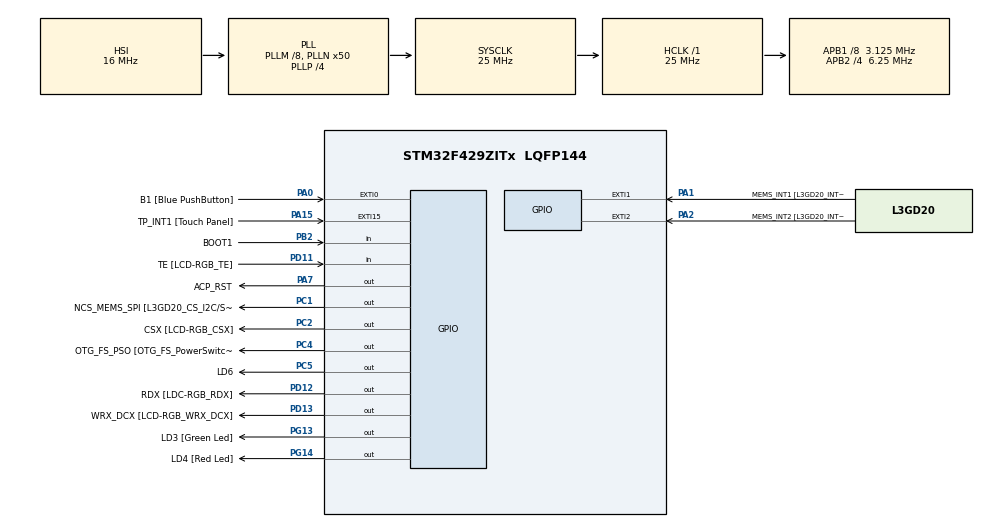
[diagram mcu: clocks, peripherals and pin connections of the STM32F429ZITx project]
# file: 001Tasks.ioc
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Mcu.Family=STM32F4
Mcu.Name=STM32F429ZITx
Mcu.Package=LQFP144
NVIC.PriorityGroup=NVIC_PRIORITYGROUP_4
NVIC.TIM6_DAC_IRQn=true\:0\:0\:false\:false\:true\:false\:true\:true
NVIC.TimeBase=TIM6_DAC_IRQn
NVIC.TimeBaseIP=TIM6
PA0/WKUP.GPIO_Label=B1 [Blue PushButton]
PA0/WKUP.GPIO_ModeDefaultEXTI=GPIO_MODE_EVT_RISING
PA0/WKUP.GPIO_PuPd=GPIO_NOPULL
PA0/WKUP.Signal=GPXTI0
PA1.GPIO_Label=MEMS_INT1 [L3GD20_INT1]
PA1.GPIO_ModeDefaultEXTI=GPIO_MODE_EVT_RISING
PA1.GPIO_PuPd=GPIO_NOPULL
PA1.Signal=GPXTI1
PA10.GPIO_Label=STLINK_TX [STM32F103CBT6_PA2]
PA10.Signal=USART1_RX
PA11.GPIO_Label=R4
PA11.GPIO_Mode=GPIO_MODE_AF_PP
PA11.GPIO_PuPd=GPIO_NOPULL
PA11.GPIO_Speed=GPIO_SPEED_FREQ_LOW
PA11.Signal=LTDC_R4
PA12.GPIO_Label=R5
PA12.GPIO_Mode=GPIO_MODE_AF_PP
PA12.GPIO_PuPd=GPIO_NOPULL
PA12.GPIO_Speed=GPIO_SPEED_FREQ_LOW
PA12.Signal=LTDC_R5
PA13.GPIO_Label=SWDIO
PA13.Signal=SYS_JTMS-SWDIO
PA14.GPIO_Label=SWCLK
PA14.Signal=SYS_JTCK-SWCLK
PA15.GPIO_Label=TP_INT1 [Touch Panel]
PA15.GPIO_ModeDefaultEXTI=GPIO_MODE_EVT_RISING
PA15.GPIO_PuPd=GPIO_NOPULL
PA15.Signal=GPXTI15
PA2.GPIO_Label=MEMS_INT2 [L3GD20_INT2]
PA2.GPIO_ModeDefaultEXTI=GPIO_MODE_EVT_RISING
PA2.GPIO_PuPd=GPIO_NOPULL
PA2.Signal=GPXTI2
PA3.GPIO_Label=B5
PA3.GPIO_Mode=GPIO_MODE_AF_PP
PA3.GPIO_PuPd=GPIO_NOPULL
PA3.GPIO_Speed=GPIO_SPEED_FREQ_LOW
PA3.Signal=LTDC_B5
PA4.GPIO_Label=VSYNC
PA4.GPIO_Mode=GPIO_MODE_AF_PP
PA4.GPIO_PuPd=GPIO_NOPULL
PA4.GPIO_Speed=GPIO_SPEED_FREQ_LOW
PA4.Signal=LTDC_VSYNC
PA6.GPIO_Label=G2
PA6.GPIO_Mode=GPIO_MODE_AF_PP
PA6.GPIO_PuPd=GPIO_NOPULL
PA6.GPIO_Speed=GPIO_SPEED_FREQ_LOW
PA6.Signal=LTDC_G2
PA7.GPIO_Label=ACP_RST
PA7.GPIO_Mode=GPIO_MODE_OUTPUT_PP
PA7.GPIO_PuPd=GPIO_NOPULL
PA7.GPIO_Speed=GPIO_SPEED_FREQ_LOW
PA7.Signal=GPIO_Output
PA8.GPIO_Label=I2C3_SCL [ACP/RF_SCL]
PA8.GPIO_Mode=GPIO_MODE_AF_OD
PA8.GPIO_PuPd=GPIO_NOPULL
PA8.GPIO_Speed=GPIO_SPEED_FREQ_LOW
PA8.Signal=I2C3_SCL
PA9.GPIO_Label=STLINK_RX [STM32F103CBT6_PA3]
PA9.Signal=USART1_TX
PB0.GPIO_Label=R3
PB0.GPIO_Mode=GPIO_MODE_AF_PP
PB0.GPIO_PuPd=GPIO_NOPULL
PB0.GPIO_Speed=GPIO_SPEED_FREQ_LOW
PB0.Signal=LTDC_R3
PB1.GPIO_Label=R6
PB1.GPIO_Mode=GPIO_MODE_AF_PP
PB1.GPIO_PuPd=GPIO_NOPULL
PB1.GPIO_Speed=GPIO_SPEED_FREQ_LOW
PB1.Signal=LTDC_R6
PB10.GPIO_Label=G4
PB10.GPIO_Mode=GPIO_MODE_AF_PP
PB10.GPIO_PuPd=GPIO_NOPULL
PB10.GPIO_Speed=GPIO_SPEED_FREQ_LOW
PB10.Signal=LTDC_G4
PB11.GPIO_Label=G5
PB11.GPIO_Mode=GPIO_MODE_AF_PP
PB11.GPIO_PuPd=GPIO_NOPULL
PB11.GPIO_Speed=GPIO_SPEED_FREQ_LOW
PB11.Signal=LTDC_G5
PB12.GPIO_Label=OTG_HS_ID
PB12.GPIO_Mode=GPIO_MODE_AF_PP
PB12.GPIO_PuPd=GPIO_NOPULL
PB12.GPIO_Speed=GPIO_SPEED_FREQ_LOW
PB12.Signal=USB_OTG_HS_ID
PB13.Signal=USB_OTG_HS_VBUS
PB14.GPIO_Label=OTG_HS_DM
PB14.GPIO_Mode=GPIO_MODE_AF_PP
PB14.GPIO_PuPd=GPIO_NOPULL
PB14.GPIO_Speed=GPIO_SPEED_FREQ_LOW
PB14.Signal=USB_OTG_HS_DM
PB15.GPIO_Label=OTG_HS_DP
PB15.GPIO_Mode=GPIO_MODE_AF_PP
PB15.GPIO_PuPd=GPIO_NOPULL
PB15.GPIO_Speed=GPIO_SPEED_FREQ_LOW
PB15.Signal=USB_OTG_HS_DP
PB2/BOOT1.GPIO_Label=BOOT1
PB2/BOOT1.GPIO_Mode=GPIO_MODE_INPUT
PB2/BOOT1.GPIO_PuPd=GPIO_NOPULL
PB2/BOOT1.Signal=GPIO_Input
PB5.GPIO_Label=SDCKE1
PB5.GPIO_Mode=GPIO_MODE_AF_PP
PB5.GPIO_PuPd=GPIO_NOPULL
PB5.GPIO_Speed=GPIO_SPEED_FREQ_VERY_HIGH
PB5.Signal=FMC_SDCKE1
PB6.GPIO_Label=SDNE1 [SDRAM_CS]
PB6.GPIO_Mode=GPIO_MODE_AF_PP
PB6.GPIO_PuPd=GPIO_NOPULL
PB6.GPIO_Speed=GPIO_SPEED_FREQ_VERY_HIGH
PB6.Signal=FMC_SDNE1
PB8.GPIO_Label=B6
PB8.GPIO_Mode=GPIO_MODE_AF_PP
PB8.GPIO_PuPd=GPIO_NOPULL
PB8.GPIO_Speed=GPIO_SPEED_FREQ_LOW
PB8.Signal=LTDC_B6
PB9.GPIO_Label=B7
PB9.GPIO_Mode=GPIO_MODE_AF_PP
PB9.GPIO_PuPd=GPIO_NOPULL
PB9.GPIO_Speed=GPIO_SPEED_FREQ_LOW
PB9.Signal=LTDC_B7
PC0.GPIO_Label=SDNWE
PC0.GPIO_Mode=GPIO_MODE_AF_PP
PC0.GPIO_PuPd=GPIO_NOPULL
PC0.GPIO_Speed=GPIO_SPEED_FREQ_VERY_HIGH
PC0.Signal=FMC_SDNWE
PC1.GPIO_Label=NCS_MEMS_SPI [L3GD20_CS_I2C/SPI]
PC1.GPIO_Mode=GPIO_MODE_OUTPUT_PP
PC1.GPIO_PuPd=GPIO_NOPULL
PC1.GPIO_Speed=GPIO_SPEED_FREQ_LOW
PC1.Signal=GPIO_Output
PC10.GPIO_Label=R2
PC10.GPIO_Mode=GPIO_MODE_AF_PP
PC10.GPIO_PuPd=GPIO_NOPULL
PC10.GPIO_Speed=GPIO_SPEED_FREQ_LOW
PC10.Signal=LTDC_R2
PC14/OSC32_IN.GPIO_Label=PC14-OSC32_IN
PC14/OSC32_IN.Signal=RCC_OSC32_IN
PC15/OSC32_OUT.GPIO_Label=PC15-OSC32_OUT
PC15/OSC32_OUT.Signal=RCC_OSC32_OUT
PC2.GPIO_Label=CSX [LCD-RGB_CSX]
PC2.GPIO_Mode=GPIO_MODE_OUTPUT_PP
PC2.GPIO_PuPd=GPIO_NOPULL
PC2.GPIO_Speed=GPIO_SPEED_FREQ_LOW
PC2.Signal=GPIO_Output
PC4.GPIO_Label=OTG_FS_PSO [OTG_FS_PowerSwitchOn]
PC4.GPIO_Mode=GPIO_MODE_OUTPUT_PP
PC4.GPIO_PuPd=GPIO_NOPULL
PC4.GPIO_Speed=GPIO_SPEED_FREQ_LOW
PC4.Signal=GPIO_Output
PC5.GPIO_Label=LD6
PC5.Signal=GPIO_Output
PC6.GPIO_Label=HSYNC
PC6.GPIO_Mode=GPIO_MODE_AF_PP
PC6.GPIO_PuPd=GPIO_NOPULL
PC6.GPIO_Speed=GPIO_SPEED_FREQ_LOW
PC6.Signal=LTDC_HSYNC
PC7.GPIO_Label=G6
PC7.GPIO_Mode=GPIO_MODE_AF_PP
PC7.GPIO_PuPd=GPIO_NOPULL
PC7.GPIO_Speed=GPIO_SPEED_FREQ_LOW
PC7.Signal=LTDC_G6
PC9.GPIO_Label=I2C3_SDA [ACP/RF_SDA]
PC9.GPIO_Mode=GPIO_MODE_AF_OD
PC9.GPIO_PuPd=GPIO_NOPULL
PC9.GPIO_Speed=GPIO_SPEED_FREQ_LOW
PC9.Signal=I2C3_SDA
PD0.GPIO_Label=D2
PD0.GPIO_Mode=GPIO_MODE_AF_PP
PD0.GPIO_PuPd=GPIO_NOPULL
PD0.GPIO_Speed=GPIO_SPEED_FREQ_VERY_HIGH
PD0.Signal=FMC_D2_DA2
PD1.GPIO_Label=D3
PD1.GPIO_Mode=GPIO_MODE_AF_PP
PD1.GPIO_PuPd=GPIO_NOPULL
PD1.GPIO_Speed=GPIO_SPEED_FREQ_VERY_HIGH
PD1.Signal=FMC_D3_DA3
PD10.GPIO_Label=D15
PD10.GPIO_Mode=GPIO_MODE_AF_PP
PD10.GPIO_PuPd=GPIO_NOPULL
PD10.GPIO_Speed=GPIO_SPEED_FREQ_VERY_HIGH
PD10.Signal=FMC_D15_DA15
PD11.GPIO_Label=TE [LCD-RGB_TE]
PD11.GPIO_Mode=GPIO_MODE_INPUT
PD11.GPIO_PuPd=GPIO_NOPULL
PD11.Signal=GPIO_Input
PD12.GPIO_Label=RDX [LDC-RGB_RDX]
PD12.GPIO_Mode=GPIO_MODE_OUTPUT_PP
PD12.GPIO_PuPd=GPIO_NOPULL
PD12.GPIO_Speed=GPIO_SPEED_FREQ_LOW
PD12.Signal=GPIO_Output
PD13.GPIO_Label=WRX_DCX [LCD-RGB_WRX_DCX]
PD13.GPIO_Mode=GPIO_MODE_OUTPUT_PP
PD13.GPIO_PuPd=GPIO_NOPULL
PD13.GPIO_Speed=GPIO_SPEED_FREQ_LOW
PD13.Signal=GPIO_Output
PD14.GPIO_Label=D0
PD14.GPIO_Mode=GPIO_MODE_AF_PP
PD14.GPIO_PuPd=GPIO_NOPULL
PD14.GPIO_Speed=GPIO_SPEED_FREQ_VERY_HIGH
PD14.Signal=FMC_D0_DA0
PD15.GPIO_Label=D1
PD15.GPIO_Mode=GPIO_MODE_AF_PP
PD15.GPIO_PuPd=GPIO_NOPULL
PD15.GPIO_Speed=GPIO_SPEED_FREQ_VERY_HIGH
PD15.Signal=FMC_D1_DA1
PD3.GPIO_Label=G7
PD3.GPIO_Mode=GPIO_MODE_AF_PP
PD3.GPIO_PuPd=GPIO_NOPULL
PD3.GPIO_Speed=GPIO_SPEED_FREQ_LOW
PD3.Signal=LTDC_G7
PD6.GPIO_Label=B2
PD6.GPIO_Mode=GPIO_MODE_AF_PP
PD6.GPIO_PuPd=GPIO_NOPULL
PD6.GPIO_Speed=GPIO_SPEED_FREQ_LOW
PD6.Signal=LTDC_B2
PD8.GPIO_Label=D13
PD8.GPIO_Mode=GPIO_MODE_AF_PP
PD8.GPIO_PuPd=GPIO_NOPULL
PD8.GPIO_Speed=GPIO_SPEED_FREQ_VERY_HIGH
PD8.Signal=FMC_D13_DA13
PD9.GPIO_Label=D14
PD9.GPIO_Mode=GPIO_MODE_AF_PP
PD9.GPIO_PuPd=GPIO_NOPULL
PD9.GPIO_Speed=GPIO_SPEED_FREQ_VERY_HIGH
PD9.Signal=FMC_D14_DA14
PE0.GPIO_Label=NBL0 [SDRAM_LDQM]
PE0.GPIO_Mode=GPIO_MODE_AF_PP
PE0.GPIO_PuPd=GPIO_NOPULL
PE0.GPIO_Speed=GPIO_SPEED_FREQ_VERY_HIGH
PE0.Signal=FMC_NBL0
PE1.GPIO_Label=NBL1 [SDRAM_UDQM]
PE1.GPIO_Mode=GPIO_MODE_AF_PP
PE1.GPIO_PuPd=GPIO_NOPULL
PE1.GPIO_Speed=GPIO_SPEED_FREQ_VERY_HIGH
PE1.Signal=FMC_NBL1
PE10.GPIO_Label=D7
PE10.GPIO_Mode=GPIO_MODE_AF_PP
PE10.GPIO_PuPd=GPIO_NOPULL
PE10.GPIO_Speed=GPIO_SPEED_FREQ_VERY_HIGH
PE10.Signal=FMC_D7_DA7
PE11.GPIO_Label=D8
PE11.GPIO_Mode=GPIO_MODE_AF_PP
PE11.GPIO_PuPd=GPIO_NOPULL
PE11.GPIO_Speed=GPIO_SPEED_FREQ_VERY_HIGH
PE11.Signal=FMC_D8_DA8
PE12.GPIO_Label=D9
PE12.GPIO_Mode=GPIO_MODE_AF_PP
PE12.GPIO_PuPd=GPIO_NOPULL
PE12.GPIO_Speed=GPIO_SPEED_FREQ_VERY_HIGH
PE12.Signal=FMC_D9_DA9
PE13.GPIO_Label=D10
PE13.GPIO_Mode=GPIO_MODE_AF_PP
PE13.GPIO_PuPd=GPIO_NOPULL
PE13.GPIO_Speed=GPIO_SPEED_FREQ_VERY_HIGH
PE13.Signal=FMC_D10_DA10
PE14.GPIO_Label=D11
PE14.GPIO_Mode=GPIO_MODE_AF_PP
PE14.GPIO_PuPd=GPIO_NOPULL
PE14.GPIO_Speed=GPIO_SPEED_FREQ_VERY_HIGH
PE14.Signal=FMC_D11_DA11
PE15.GPIO_Label=D12
PE15.GPIO_Mode=GPIO_MODE_AF_PP
PE15.GPIO_PuPd=GPIO_NOPULL
PE15.GPIO_Speed=GPIO_SPEED_FREQ_VERY_HIGH
PE15.Signal=FMC_D12_DA12
PE7.GPIO_Label=D4
PE7.GPIO_Mode=GPIO_MODE_AF_PP
PE7.GPIO_PuPd=GPIO_NOPULL
PE7.GPIO_Speed=GPIO_SPEED_FREQ_VERY_HIGH
PE7.Signal=FMC_D4_DA4
PE8.GPIO_Label=D5
PE8.GPIO_Mode=GPIO_MODE_AF_PP
PE8.GPIO_PuPd=GPIO_NOPULL
PE8.GPIO_Speed=GPIO_SPEED_FREQ_VERY_HIGH
PE8.Signal=FMC_D5_DA5
PE9.GPIO_Label=D6
PE9.GPIO_Mode=GPIO_MODE_AF_PP
PE9.GPIO_PuPd=GPIO_NOPULL
PE9.GPIO_Speed=GPIO_SPEED_FREQ_VERY_HIGH
PE9.Signal=FMC_D6_DA6
PF0.GPIO_Label=A0
PF0.GPIO_Mode=GPIO_MODE_AF_PP
PF0.GPIO_PuPd=GPIO_NOPULL
PF0.GPIO_Speed=GPIO_SPEED_FREQ_VERY_HIGH
PF0.Signal=FMC_A0
PF1.GPIO_Label=A1
PF1.GPIO_Mode=GPIO_MODE_AF_PP
PF1.GPIO_PuPd=GPIO_NOPULL
PF1.GPIO_Speed=GPIO_SPEED_FREQ_VERY_HIGH
PF1.Signal=FMC_A1
PF10.GPIO_Label=ENABLE [LCD-RGB_ENABLE]
PF10.GPIO_Mode=GPIO_MODE_AF_PP
PF10.GPIO_PuPd=GPIO_NOPULL
PF10.GPIO_Speed=GPIO_SPEED_FREQ_LOW
PF10.Signal=LTDC_DE
PF11.GPIO_Label=SDNRAS
PF11.GPIO_Mode=GPIO_MODE_AF_PP
PF11.GPIO_PuPd=GPIO_NOPULL
PF11.GPIO_Speed=GPIO_SPEED_FREQ_VERY_HIGH
PF11.Signal=FMC_SDNRAS
PF12.GPIO_Label=A6
PF12.GPIO_Mode=GPIO_MODE_AF_PP
PF12.GPIO_PuPd=GPIO_NOPULL
PF12.GPIO_Speed=GPIO_SPEED_FREQ_VERY_HIGH
PF12.Signal=FMC_A6
PF13.GPIO_Label=A7
PF13.GPIO_Mode=GPIO_MODE_AF_PP
PF13.GPIO_PuPd=GPIO_NOPULL
PF13.GPIO_Speed=GPIO_SPEED_FREQ_VERY_HIGH
PF13.Signal=FMC_A7
PF14.GPIO_Label=A8
PF14.GPIO_Mode=GPIO_MODE_AF_PP
PF14.GPIO_PuPd=GPIO_NOPULL
PF14.GPIO_Speed=GPIO_SPEED_FREQ_VERY_HIGH
PF14.Signal=FMC_A8
PF15.GPIO_Label=A9
PF15.GPIO_Mode=GPIO_MODE_AF_PP
PF15.GPIO_PuPd=GPIO_NOPULL
PF15.GPIO_Speed=GPIO_SPEED_FREQ_VERY_HIGH
PF15.Signal=FMC_A9
PF2.GPIO_Label=A2
PF2.GPIO_Mode=GPIO_MODE_AF_PP
PF2.GPIO_PuPd=GPIO_NOPULL
PF2.GPIO_Speed=GPIO_SPEED_FREQ_VERY_HIGH
PF2.Signal=FMC_A2
PF3.GPIO_Label=A3
PF3.GPIO_Mode=GPIO_MODE_AF_PP
PF3.GPIO_PuPd=GPIO_NOPULL
PF3.GPIO_Speed=GPIO_SPEED_FREQ_VERY_HIGH
PF3.Signal=FMC_A3
PF4.GPIO_Label=A4
PF4.GPIO_Mode=GPIO_MODE_AF_PP
PF4.GPIO_PuPd=GPIO_NOPULL
PF4.GPIO_Speed=GPIO_SPEED_FREQ_VERY_HIGH
PF4.Signal=FMC_A4
PF5.GPIO_Label=A5
PF5.GPIO_Mode=GPIO_MODE_AF_PP
PF5.GPIO_PuPd=GPIO_NOPULL
PF5.GPIO_Speed=GPIO_SPEED_FREQ_VERY_HIGH
PF5.Signal=FMC_A5
PF7.GPIO_Label=SPI5_SCK [L3GD20_SCL/SPC]
PF7.GPIO_Mode=GPIO_MODE_AF_PP
PF7.GPIO_PuPd=GPIO_NOPULL
PF7.GPIO_Speed=GPIO_SPEED_FREQ_LOW
PF7.Signal=SPI5_SCK
PF8.GPIO_Label=SPI5_MISO [L3GD20_SDO]
PF8.GPIO_Mode=GPIO_MODE_AF_PP
PF8.GPIO_PuPd=GPIO_NOPULL
PF8.GPIO_Speed=GPIO_SPEED_FREQ_LOW
PF8.Signal=SPI5_MISO
PF9.GPIO_Label=SPI5_MOSI [L3GD20_SDA/SDI/SDO]
PF9.GPIO_Mode=GPIO_MODE_AF_PP
PF9.GPIO_PuPd=GPIO_NOPULL
PF9.GPIO_Speed=GPIO_SPEED_FREQ_LOW
PF9.Signal=SPI5_MOSI
PG0.GPIO_Label=A10
PG0.GPIO_Mode=GPIO_MODE_AF_PP
PG0.GPIO_PuPd=GPIO_NOPULL
PG0.GPIO_Speed=GPIO_SPEED_FREQ_VERY_HIGH
PG0.Signal=FMC_A10
PG1.GPIO_Label=A11
PG1.GPIO_Mode=GPIO_MODE_AF_PP
PG1.GPIO_PuPd=GPIO_NOPULL
PG1.GPIO_Speed=GPIO_SPEED_FREQ_VERY_HIGH
PG1.Signal=FMC_A11
PG10.GPIO_Label=G3
PG10.GPIO_Mode=GPIO_MODE_AF_PP
PG10.GPIO_PuPd=GPIO_NOPULL
PG10.GPIO_Speed=GPIO_SPEED_FREQ_LOW
PG10.Signal=LTDC_G3
PG11.GPIO_Label=B3
PG11.GPIO_Mode=GPIO_MODE_AF_PP
PG11.GPIO_PuPd=GPIO_NOPULL
PG11.GPIO_Speed=GPIO_SPEED_FREQ_LOW
PG11.Signal=LTDC_B3
PG12.GPIO_Label=B4
PG12.GPIO_Mode=GPIO_MODE_AF_PP
PG12.GPIO_PuPd=GPIO_NOPULL
PG12.GPIO_Speed=GPIO_SPEED_FREQ_LOW
PG12.Signal=LTDC_B4
PG13.GPIO_Label=LD3 [Green Led]
PG13.GPIO_Mode=GPIO_MODE_OUTPUT_PP
PG13.GPIO_PuPd=GPIO_NOPULL
PG13.GPIO_Speed=GPIO_SPEED_FREQ_LOW
PG13.Signal=GPIO_Output
PG14.GPIO_Label=LD4 [Red Led]
PG14.GPIO_Mode=GPIO_MODE_OUTPUT_PP
PG14.GPIO_PuPd=GPIO_NOPULL
PG14.GPIO_Speed=GPIO_SPEED_FREQ_LOW
PG14.Signal=GPIO_Output
PG15.GPIO_Label=SDNCAS
PG15.GPIO_Mode=GPIO_MODE_AF_PP
PG15.GPIO_PuPd=GPIO_NOPULL
PG15.GPIO_Speed=GPIO_SPEED_FREQ_VERY_HIGH
PG15.Signal=FMC_SDNCAS
PG4.GPIO_Label=BA0
PG4.GPIO_Mode=GPIO_MODE_AF_PP
PG4.GPIO_PuPd=GPIO_NOPULL
PG4.GPIO_Speed=GPIO_SPEED_FREQ_VERY_HIGH
PG4.Signal=FMC_A14_BA0
PG5.GPIO_Label=BA1
PG5.GPIO_Mode=GPIO_MODE_AF_PP
PG5.GPIO_PuPd=GPIO_NOPULL
PG5.GPIO_Speed=GPIO_SPEED_FREQ_VERY_HIGH
PG5.Signal=FMC_A15_BA1
PG6.GPIO_Label=R7
PG6.GPIO_Mode=GPIO_MODE_AF_PP
PG6.GPIO_PuPd=GPIO_NOPULL
PG6.GPIO_Speed=GPIO_SPEED_FREQ_LOW
PG6.Signal=LTDC_R7
PG7.GPIO_Label=DOTCLK [LCT-RGB_DOTCLK]
PG7.GPIO_Mode=GPIO_MODE_AF_PP
PG7.GPIO_PuPd=GPIO_NOPULL
PG7.GPIO_Speed=GPIO_SPEED_FREQ_LOW
PG7.Signal=LTDC_CLK
PG8.GPIO_Label=SDCLK
PG8.GPIO_Mode=GPIO_MODE_AF_PP
PG8.GPIO_PuPd=GPIO_NOPULL
PG8.GPIO_Speed=GPIO_SPEED_FREQ_VERY_HIGH
PG8.Signal=FMC_SDCLK
PH0/OSC_IN.GPIO_Label=PH0-OSC_IN
PH0/OSC_IN.Signal=RCC_OSC_IN
PH1/OSC_OUT.GPIO_Label=PH1-OSC_OUT
PH1/OSC_OUT.Signal=RCC_OSC_OUT
ProjectManager.HeapSize=0x200
ProjectManager.StackSize=0x400
ProjectManager.TargetToolchain=STM32CubeIDE
RCC.48MHZClocksFreq_Value=14285714.285714285
RCC.AHBFreq_Value=25000000
RCC.APB1CLKDivider=RCC_HCLK_DIV8
RCC.APB1Freq_Value=3125000
RCC.APB1TimFreq_Value=6250000
RCC.APB2CLKDivider=RCC_HCLK_DIV4
RCC.APB2Freq_Value=6250000
RCC.APB2TimFreq_Value=12500000
RCC.CortexFreq_Value=25000000
RCC.HCLKFreq_Value=25000000
RCC.HSE_VALUE=8000000
RCC.HSI_VALUE=16000000
RCC.LSE_VALUE=32768
RCC.PLLM=8
RCC.PLLN=50
RCC.PLLP=RCC_PLLP_DIV4
RCC.PLLQ=7
RCC.SYSCLKFreq_VALUE=25000000
RCC.SYSCLKSource=RCC_SYSCLKSOURCE_PLLCLK
RCC.VCOOutputFreq_Value=100000000
SH.FMC_A0.0=FMC_A0
SH.FMC_A1.0=FMC_A1
SH.FMC_A10.0=FMC_A10
SH.FMC_A11.0=FMC_A11
SH.FMC_A14_BA0.0=FMC_BA0
SH.FMC_A15_BA1.0=FMC_BA1
SH.FMC_A2.0=FMC_A2
SH.FMC_A3.0=FMC_A3
SH.FMC_A4.0=FMC_A4
SH.FMC_A5.0=FMC_A5
SH.FMC_A6.0=FMC_A6
SH.FMC_A7.0=FMC_A7
SH.FMC_A8.0=FMC_A8
SH.FMC_A9.0=FMC_A9
SH.FMC_D0_DA0.0=FMC_D0
SH.FMC_D10_DA10.0=FMC_D10
SH.FMC_D11_DA11.0=FMC_D11
SH.FMC_D12_DA12.0=FMC_D12
SH.FMC_D13_DA13.0=FMC_D13
SH.FMC_D14_DA14.0=FMC_D14
SH.FMC_D15_DA15.0=FMC_D15
SH.FMC_D1_DA1.0=FMC_D1
SH.FMC_D2_DA2.0=FMC_D2
SH.FMC_D3_DA3.0=FMC_D3
SH.FMC_D4_DA4.0=FMC_D4
SH.FMC_D5_DA5.0=FMC_D5
SH.FMC_D6_DA6.0=FMC_D6
SH.FMC_D7_DA7.0=FMC_D7
SH.FMC_D8_DA8.0=FMC_D8
SH.FMC_D9_DA9.0=FMC_D9
SH.FMC_NBL0.0=FMC_NBL0
SH.FMC_NBL1.0=FMC_NBL1
SH.FMC_SDCLK.0=FMC_SDCLK
SH.FMC_SDNCAS.0=FMC_SDNCAS
SH.FMC_SDNRAS.0=FMC_SDNRAS
SH.FMC_SDNWE.0=FMC_SDNWE
VP_SYS_VS_tim6.Mode=TIM6
board=STM32F429I-DISC1

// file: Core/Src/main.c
/* USER CODE BEGIN Header */
/**
  ******************************************************************************
  * @file           : main.c
  * @brief          : Main program body
  ******************************************************************************
  * @attention
  *
  * Copyright (c) 2023 STMicroelectronics.
  * All rights reserved.
  *
  * This software is licensed under terms that can be found in the LICENSE file
  * in the root directory of this software component.
  * If no LICENSE file comes with this software, it is provided AS-IS.
  *
  ******************************************************************************
  */
/* USER CODE END Header */
#include "main.h"

/* USER CODE BEGIN Includes */
#include "FreeRTOS.h"
#include "task.h"
/* USER CODE END Includes */

/* USER CODE BEGIN PD */
#define DWT_CTRL		(*(volatile uint32_t *)0xE0001000)
#define DWT_CYCCNT		(*(volatile uint32_t *)0xE0001004)
/* USER CODE END PD */

/* USER CODE BEGIN PV */
TaskHandle_t task1_handle;
TaskHandle_t task2_handle;
BaseType_t status;

/* USER CODE END PV */

void SystemClock_Config(void);
static void MX_GPIO_Init(void);
/* USER CODE BEGIN PFP */
static void Task1_Handler(void*);
static void Task2_Handler(void*);
/* USER CODE END PFP */

int main(void)
{

  /* MCU Configuration--------------------------------------------------------*/

  /* Reset of all peripherals, Initializes the Flash interface and the Systick. */
  HAL_Init();

  /* USER CODE BEGIN Init */
  /* Enable Data Watchpoint cycle count */
  DWT_CTRL |= (0x01);

  /* USER CODE END Init */

  /* Configure the system clock */
  SystemClock_Config();

  /* Initialize all configured peripherals */
  MX_GPIO_Init();
  /* USER CODE BEGIN 2 */
  SEGGER_SYSVIEW_Conf();
  SEGGER_SYSVIEW_Start();

  status = xTaskCreate(Task1_Handler, "Task-1", 100, NULL, 2, &task1_handle);
  configASSERT(status == pdPASS);
  status = xTaskCreate(Task2_Handler, "Task-2", 100, NULL, 2, &task2_handle);
  configASSERT(status == pdPASS);

  //Start freeRTOS scheduler
  vTaskStartScheduler();

  /* USER CODE END 2 */

  /* Infinite loop */
  while (1)
  {

  }
}

void SystemClock_Config(void)
{
  RCC_OscInitTypeDef RCC_OscInitStruct = {0};
  RCC_ClkInitTypeDef RCC_ClkInitStruct = {0};

  /** Configure the main internal regulator output voltage
  */
  __HAL_RCC_PWR_CLK_ENABLE();
  __HAL_PWR_VOLTAGESCALING_CONFIG(PWR_REGULATOR_VOLTAGE_SCALE3);

  /** Initializes the RCC Oscillators according to the specified parameters
  * in the RCC_OscInitTypeDef structure.
  */
  RCC_OscInitStruct.OscillatorType = RCC_OSCILLATORTYPE_HSI;
  RCC_OscInitStruct.HSIState = RCC_HSI_ON;
  RCC_OscInitStruct.HSICalibrationValue = RCC_HSICALIBRATION_DEFAULT;
  RCC_OscInitStruct.PLL.PLLState = RCC_PLL_ON;
  RCC_OscInitStruct.PLL.PLLSource = RCC_PLLSOURCE_HSI;
  RCC_OscInitStruct.PLL.PLLM = 8;
  RCC_OscInitStruct.PLL.PLLN = 50;
  RCC_OscInitStruct.PLL.PLLP = RCC_PLLP_DIV4;
  RCC_OscInitStruct.PLL.PLLQ = 7;
  if (HAL_RCC_OscConfig(&RCC_OscInitStruct) != HAL_OK)
  {
    Error_Handler();
  }

  /** Initializes the CPU, AHB and APB buses clocks
  */
  RCC_ClkInitStruct.ClockType = RCC_CLOCKTYPE_HCLK|RCC_CLOCKTYPE_SYSCLK
                              |RCC_CLOCKTYPE_PCLK1|RCC_CLOCKTYPE_PCLK2;
  RCC_ClkInitStruct.SYSCLKSource = RCC_SYSCLKSOURCE_PLLCLK;
  RCC_ClkInitStruct.AHBCLKDivider = RCC_SYSCLK_DIV1;
  RCC_ClkInitStruct.APB1CLKDivider = RCC_HCLK_DIV8;
  RCC_ClkInitStruct.APB2CLKDivider = RCC_HCLK_DIV4;

  if (HAL_RCC_ClockConfig(&RCC_ClkInitStruct, FLASH_LATENCY_0) != HAL_OK)
  {
    Error_Handler();
  }
}

static void MX_GPIO_Init(void)
{
  GPIO_InitTypeDef GPIO_InitStruct = {0};

  /* GPIO Ports Clock Enable */
  __HAL_RCC_GPIOC_CLK_ENABLE();
  __HAL_RCC_GPIOF_CLK_ENABLE();
  __HAL_RCC_GPIOH_CLK_ENABLE();
  __HAL_RCC_GPIOA_CLK_ENABLE();
  __HAL_RCC_GPIOB_CLK_ENABLE();
  __HAL_RCC_GPIOG_CLK_ENABLE();
  __HAL_RCC_GPIOE_CLK_ENABLE();
  __HAL_RCC_GPIOD_CLK_ENABLE();

  /*Configure GPIO pin Output Level */
  HAL_GPIO_WritePin(GPIOC, NCS_MEMS_SPI_Pin|CSX_Pin|OTG_FS_PSO_Pin|LD6_Pin, GPIO_PIN_RESET);

  /*Configure GPIO pin Output Level */
  HAL_GPIO_WritePin(ACP_RST_GPIO_Port, ACP_RST_Pin, GPIO_PIN_RESET);

  /*Configure GPIO pin Output Level */
  HAL_GPIO_WritePin(GPIOD, RDX_Pin|WRX_DCX_Pin, GPIO_PIN_RESET);

  /*Configure GPIO pin Output Level */
  HAL_GPIO_WritePin(GPIOG, LD3_Pin|LD4_Pin, GPIO_PIN_RESET);

  /*Configure GPIO pins : A0_Pin A1_Pin A2_Pin A3_Pin
                           A4_Pin A5_Pin SDNRAS_Pin A6_Pin
                           A7_Pin A8_Pin A9_Pin */
  GPIO_InitStruct.Pin = A0_Pin|A1_Pin|A2_Pin|A3_Pin
                          |A4_Pin|A5_Pin|SDNRAS_Pin|A6_Pin
                          |A7_Pin|A8_Pin|A9_Pin;
  GPIO_InitStruct.Mode = GPIO_MODE_AF_PP;
  GPIO_InitStruct.Pull = GPIO_NOPULL;
  GPIO_InitStruct.Speed = GPIO_SPEED_FREQ_VERY_HIGH;
  GPIO_InitStruct.Alternate = GPIO_AF12_FMC;
  HAL_GPIO_Init(GPIOF, &GPIO_InitStruct);

  /*Configure GPIO pins : SPI5_SCK_Pin SPI5_MISO_Pin SPI5_MOSI_Pin */
  GPIO_InitStruct.Pin = SPI5_SCK_Pin|SPI5_MISO_Pin|SPI5_MOSI_Pin;
  GPIO_InitStruct.Mode = GPIO_MODE_AF_PP;
  GPIO_InitStruct.Pull = GPIO_NOPULL;
  GPIO_InitStruct.Speed = GPIO_SPEED_FREQ_LOW;
  GPIO_InitStruct.Alternate = GPIO_AF5_SPI5;
  HAL_GPIO_Init(GPIOF, &GPIO_InitStruct);

  /*Configure GPIO pin : ENABLE_Pin */
  GPIO_InitStruct.Pin = ENABLE_Pin;
  GPIO_InitStruct.Mode = GPIO_MODE_AF_PP;
  GPIO_InitStruct.Pull = GPIO_NOPULL;
  GPIO_InitStruct.Speed = GPIO_SPEED_FREQ_LOW;
  GPIO_InitStruct.Alternate = GPIO_AF14_LTDC;
  HAL_GPIO_Init(ENABLE_GPIO_Port, &GPIO_InitStruct);

  /*Configure GPIO pin : SDNWE_Pin */
  GPIO_InitStruct.Pin = SDNWE_Pin;
  GPIO_InitStruct.Mode = GPIO_MODE_AF_PP;
  GPIO_InitStruct.Pull = GPIO_NOPULL;
  GPIO_InitStruct.Speed = GPIO_SPEED_FREQ_VERY_HIGH;
  GPIO_InitStruct.Alternate = GPIO_AF12_FMC;
  HAL_GPIO_Init(SDNWE_GPIO_Port, &GPIO_InitStruct);

  /*Configure GPIO pins : NCS_MEMS_SPI_Pin CSX_Pin OTG_FS_PSO_Pin LD6_Pin */
  GPIO_InitStruct.Pin = NCS_MEMS_SPI_Pin|CSX_Pin|OTG_FS_PSO_Pin|LD6_Pin;
  GPIO_InitStruct.Mode = GPIO_MODE_OUTPUT_PP;
  GPIO_InitStruct.Pull = GPIO_NOPULL;
  GPIO_InitStruct.Speed = GPIO_SPEED_FREQ_LOW;
  HAL_GPIO_Init(GPIOC, &GPIO_InitStruct);

  /*Configure GPIO pins : B1_Pin MEMS_INT1_Pin MEMS_INT2_Pin TP_INT1_Pin */
  GPIO_InitStruct.Pin = B1_Pin|MEMS_INT1_Pin|MEMS_INT2_Pin|TP_INT1_Pin;
  GPIO_InitStruct.Mode = GPIO_MODE_EVT_RISING;
  GPIO_InitStruct.Pull = GPIO_NOPULL;
  HAL_GPIO_Init(GPIOA, &GPIO_InitStruct);

  /*Configure GPIO pins : B5_Pin VSYNC_Pin G2_Pin R4_Pin
                           R5_Pin */
  GPIO_InitStruct.Pin = B5_Pin|VSYNC_Pin|G2_Pin|R4_Pin
                          |R5_Pin;
  GPIO_InitStruct.Mode = GPIO_MODE_AF_PP;
  GPIO_InitStruct.Pull = GPIO_NOPULL;
  GPIO_InitStruct.Speed = GPIO_SPEED_FREQ_LOW;
  GPIO_InitStruct.Alternate = GPIO_AF14_LTDC;
  HAL_GPIO_Init(GPIOA, &GPIO_InitStruct);

  /*Configure GPIO pin : ACP_RST_Pin */
  GPIO_InitStruct.Pin = ACP_RST_Pin;
  GPIO_InitStruct.Mode = GPIO_MODE_OUTPUT_PP;
  GPIO_InitStruct.Pull = GPIO_NOPULL;
  GPIO_InitStruct.Speed = GPIO_SPEED_FREQ_LOW;
  HAL_GPIO_Init(ACP_RST_GPIO_Port, &GPIO_InitStruct);

  /*Configure GPIO pins : R3_Pin R6_Pin */
  GPIO_InitStruct.Pin = R3_Pin|R6_Pin;
  GPIO_InitStruct.Mode = GPIO_MODE_AF_PP;
  GPIO_InitStruct.Pull = GPIO_NOPULL;
  GPIO_InitStruct.Speed = GPIO_SPEED_FREQ_LOW;
  GPIO_InitStruct.Alternate = GPIO_AF9_LTDC;
  HAL_GPIO_Init(GPIOB, &GPIO_InitStruct);

  /*Configure GPIO pin : BOOT1_Pin */
  GPIO_InitStruct.Pin = BOOT1_Pin;
  GPIO_InitStruct.Mode = GPIO_MODE_INPUT;
  GPIO_InitStruct.Pull = GPIO_NOPULL;
  HAL_GPIO_Init(BOOT1_GPIO_Port, &GPIO_InitStruct);

  /*Configure GPIO pins : A10_Pin A11_Pin BA0_Pin BA1_Pin
                           SDCLK_Pin SDNCAS_Pin */
  GPIO_InitStruct.Pin = A10_Pin|A11_Pin|BA0_Pin|BA1_Pin
                          |SDCLK_Pin|SDNCAS_Pin;
  GPIO_InitStruct.Mode = GPIO_MODE_AF_PP;
  GPIO_InitStruct.Pull = GPIO_NOPULL;
  GPIO_InitStruct.Speed = GPIO_SPEED_FREQ_VERY_HIGH;
  GPIO_InitStruct.Alternate = GPIO_AF12_FMC;
  HAL_GPIO_Init(GPIOG, &GPIO_InitStruct);

  /*Configure GPIO pins : D4_Pin D5_Pin D6_Pin D7_Pin
                           D8_Pin D9_Pin D10_Pin D11_Pin
                           D12_Pin NBL0_Pin NBL1_Pin */
  GPIO_InitStruct.Pin = D4_Pin|D5_Pin|D6_Pin|D7_Pin
                          |D8_Pin|D9_Pin|D10_Pin|D11_Pin
                          |D12_Pin|NBL0_Pin|NBL1_Pin;
  GPIO_InitStruct.Mode = GPIO_MODE_AF_PP;
  GPIO_InitStruct.Pull = GPIO_NOPULL;
  GPIO_InitStruct.Speed = GPIO_SPEED_FREQ_VERY_HIGH;
  GPIO_InitStruct.Alternate = GPIO_AF12_FMC;
  HAL_GPIO_Init(GPIOE, &GPIO_InitStruct);

  /*Configure GPIO pins : G4_Pin G5_Pin B6_Pin B7_Pin */
  GPIO_InitStruct.Pin = G4_Pin|G5_Pin|B6_Pin|B7_Pin;
  GPIO_InitStruct.Mode = GPIO_MODE_AF_PP;
  GPIO_InitStruct.Pull = GPIO_NOPULL;
  GPIO_InitStruct.Speed = GPIO_SPEED_FREQ_LOW;
  GPIO_InitStruct.Alternate = GPIO_AF14_LTDC;
  HAL_GPIO_Init(GPIOB, &GPIO_InitStruct);

  /*Configure GPIO pins : OTG_HS_ID_Pin OTG_HS_DM_Pin OTG_HS_DP_Pin */
  GPIO_InitStruct.Pin = OTG_HS_ID_Pin|OTG_HS_DM_Pin|OTG_HS_DP_Pin;
  GPIO_InitStruct.Mode = GPIO_MODE_AF_PP;
  GPIO_InitStruct.Pull = GPIO_NOPULL;
  GPIO_InitStruct.Speed = GPIO_SPEED_FREQ_LOW;
  GPIO_InitStruct.Alternate = GPIO_AF12_OTG_HS_FS;
  HAL_GPIO_Init(GPIOB, &GPIO_InitStruct);

  /*Configure GPIO pin : PB13 */
  GPIO_InitStruct.Pin = GPIO_PIN_13;
  GPIO_InitStruct.Mode = GPIO_MODE_INPUT;
  GPIO_InitStruct.Pull = GPIO_NOPULL;
  HAL_GPIO_Init(GPIOB, &GPIO_InitStruct);

  /*Configure GPIO pins : D13_Pin D14_Pin D15_Pin D0_Pin
                           D1_Pin D2_Pin D3_Pin */
  GPIO_InitStruct.Pin = D13_Pin|D14_Pin|D15_Pin|D0_Pin
                          |D1_Pin|D2_Pin|D3_Pin;
  GPIO_InitStruct.Mode = GPIO_MODE_AF_PP;
  GPIO_InitStruct.Pull = GPIO_NOPULL;
  GPIO_InitStruct.Speed = GPIO_SPEED_FREQ_VERY_HIGH;
  GPIO_InitStruct.Alternate = GPIO_AF12_FMC;
  HAL_GPIO_Init(GPIOD, &GPIO_InitStruct);

  /*Configure GPIO pin : TE_Pin */
  GPIO_InitStruct.Pin = TE_Pin;
  GPIO_InitStruct.Mode = GPIO_MODE_INPUT;
  GPIO_InitStruct.Pull = GPIO_NOPULL;
  HAL_GPIO_Init(TE_GPIO_Port, &GPIO_InitStruct);

  /*Configure GPIO pins : RDX_Pin WRX_DCX_Pin */
  GPIO_InitStruct.Pin = RDX_Pin|WRX_DCX_Pin;
  GPIO_InitStruct.Mode = GPIO_MODE_OUTPUT_PP;
  GPIO_InitStruct.Pull = GPIO_NOPULL;
  GPIO_InitStruct.Speed = GPIO_SPEED_FREQ_LOW;
  HAL_GPIO_Init(GPIOD, &GPIO_InitStruct);

  /*Configure GPIO pins : R7_Pin DOTCLK_Pin B3_Pin */
  GPIO_InitStruct.Pin = R7_Pin|DOTCLK_Pin|B3_Pin;
  GPIO_InitStruct.Mode = GPIO_MODE_AF_PP;
  GPIO_InitStruct.Pull = GPIO_NOPULL;
  GPIO_InitStruct.Speed = GPIO_SPEED_FREQ_LOW;
  GPIO_InitStruct.Alternate = GPIO_AF14_LTDC;
  HAL_GPIO_Init(GPIOG, &GPIO_InitStruct);

  /*Configure GPIO pins : HSYNC_Pin G6_Pin R2_Pin */
  GPIO_InitStruct.Pin = HSYNC_Pin|G6_Pin|R2_Pin;
  GPIO_InitStruct.Mode = GPIO_MODE_AF_PP;
  GPIO_InitStruct.Pull = GPIO_NOPULL;
  GPIO_InitStruct.Speed = GPIO_SPEED_FREQ_LOW;
  GPIO_InitStruct.Alternate = GPIO_AF14_LTDC;
  HAL_GPIO_Init(GPIOC, &GPIO_InitStruct);

  /*Configure GPIO pin : I2C3_SDA_Pin */
  GPIO_InitStruct.Pin = I2C3_SDA_Pin;
  GPIO_InitStruct.Mode = GPIO_MODE_AF_OD;
  GPIO_InitStruct.Pull = GPIO_NOPULL;
  GPIO_InitStruct.Speed = GPIO_SPEED_FREQ_LOW;
  GPIO_InitStruct.Alternate = GPIO_AF4_I2C3;
  HAL_GPIO_Init(I2C3_SDA_GPIO_Port, &GPIO_InitStruct);

  /*Configure GPIO pin : I2C3_SCL_Pin */
  GPIO_InitStruct.Pin = I2C3_SCL_Pin;
  GPIO_InitStruct.Mode = GPIO_MODE_AF_OD;
  GPIO_InitStruct.Pull = GPIO_NOPULL;
  GPIO_InitStruct.Speed = GPIO_SPEED_FREQ_LOW;
  GPIO_InitStruct.Alternate = GPIO_AF4_I2C3;
  HAL_GPIO_Init(I2C3_SCL_GPIO_Port, &GPIO_InitStruct);

  /*Configure GPIO pins : STLINK_RX_Pin STLINK_TX_Pin */
  GPIO_InitStruct.Pin = STLINK_RX_Pin|STLINK_TX_Pin;
  GPIO_InitStruct.Mode = GPIO_MODE_AF_PP;
  GPIO_InitStruct.Pull = GPIO_NOPULL;
  GPIO_InitStruct.Speed = GPIO_SPEED_FREQ_VERY_HIGH;
  GPIO_InitStruct.Alternate = GPIO_AF7_USART1;
  HAL_GPIO_Init(GPIOA, &GPIO_InitStruct);

  /*Configure GPIO pins : G7_Pin B2_Pin */
  GPIO_InitStruct.Pin = G7_Pin|B2_Pin;
  GPIO_InitStruct.Mode = GPIO_MODE_AF_PP;
  GPIO_InitStruct.Pull = GPIO_NOPULL;
  GPIO_InitStruct.Speed = GPIO_SPEED_FREQ_LOW;
  GPIO_InitStruct.Alternate = GPIO_AF14_LTDC;
  HAL_GPIO_Init(GPIOD, &GPIO_InitStruct);

  /*Configure GPIO pins : G3_Pin B4_Pin */
  GPIO_InitStruct.Pin = G3_Pin|B4_Pin;
  GPIO_InitStruct.Mode = GPIO_MODE_AF_PP;
  GPIO_InitStruct.Pull = GPIO_NOPULL;
  GPIO_InitStruct.Speed = GPIO_SPEED_FREQ_LOW;
  GPIO_InitStruct.Alternate = GPIO_AF9_LTDC;
  HAL_GPIO_Init(GPIOG, &GPIO_InitStruct);

  /*Configure GPIO pins : LD3_Pin LD4_Pin */
  GPIO_InitStruct.Pin = LD3_Pin|LD4_Pin;
  GPIO_InitStruct.Mode = GPIO_MODE_OUTPUT_PP;
  GPIO_InitStruct.Pull = GPIO_NOPULL;
  GPIO_InitStruct.Speed = GPIO_SPEED_FREQ_LOW;
  HAL_GPIO_Init(GPIOG, &GPIO_InitStruct);

  /*Configure GPIO pins : SDCKE1_Pin SDNE1_Pin */
  GPIO_InitStruct.Pin = SDCKE1_Pin|SDNE1_Pin;
  GPIO_InitStruct.Mode = GPIO_MODE_AF_PP;
  GPIO_InitStruct.Pull = GPIO_NOPULL;
  GPIO_InitStruct.Speed = GPIO_SPEED_FREQ_VERY_HIGH;
  GPIO_InitStruct.Alternate = GPIO_AF12_FMC;
  HAL_GPIO_Init(GPIOB, &GPIO_InitStruct);

}

/* USER CODE BEGIN 4 */
static void Task1_Handler(void* parameters){
	while(1){
		GPIOG->ODR &= ~(0x03 << 13); //Reset both LEDs
		GPIOG->ODR |= (0x01 << 13); //Turn on GREEN LED
//		taskYIELD();
	}
	GPIOG->ODR &= ~(0x01 << 13);
	vTaskDelete(task1_handle);
}
static void Task2_Handler(void* parameters){
	while(1){
		GPIOG->ODR &= ~(0x03 << 13); //Reset both LEDs
		GPIOG->ODR |= (0x01 << 14); //Turn on RED LED
//		taskYIELD();
	}
	GPIOG->ODR &= ~(0x01 << 14);
	vTaskDelete(task2_handle);
}
/* USER CODE END 4 */

void HAL_TIM_PeriodElapsedCallback(TIM_HandleTypeDef *htim)
{
  if (htim->Instance == TIM6) {
    HAL_IncTick();
  }
}

void Error_Handler(void)
{
  __disable_irq();
  while (1)
  {
  }
}
